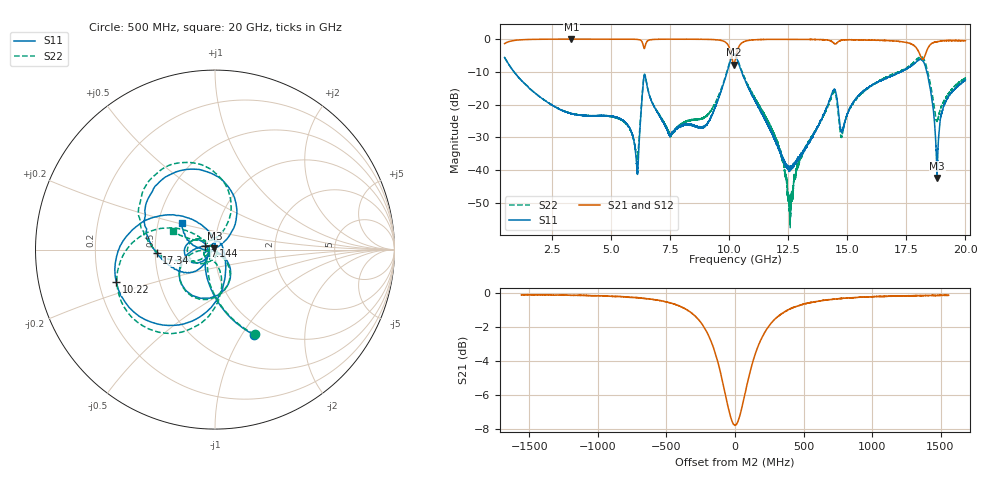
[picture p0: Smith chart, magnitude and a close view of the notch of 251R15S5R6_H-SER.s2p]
!{251R15S5R6}
!Johanson Technology Inc.
!www.johansontechnology.com
!Test Board Conditions:
!Substrate Type  RO4350B
!Substrate Thickness  20 mil
!Substrate Dk  3.66
!TL Type: GCPW
!TL Trace Width  34 mil
!TL Gap  10 mil
!Electrode orientation  Horizontal
!DUT TOPOLOGY	SERIES
!Mounting Pad LxW  26x52 mil
! Created Thu Mar 12 16:43:06 2020
# mhz S ma R 50
! 2 Port Network Data from SP1.SP block
! freq  magS11  angS11  magS21  angS21  magS12  angS12  magS22  angS22
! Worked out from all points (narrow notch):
!   19501 points, 500 MHz to 20 GHz, reference 50 ohm
!   highest |S21| = -0.04 dB at 3.329 GHz (marker M1); lowest = -7.8 dB at 10.2 GHz (marker M2)
!   notch at M2: 7.6 dB deep, 260 MHz wide at half that depth
!   lowest |S11| = -42.4 dB at 18.8 GHz (marker M3), VSWR 1.02, Z = 49.7 + j0.681 ohm
!   |S11| at or under -10 dB: 896.2 MHz to 9.918 GHz (9.022 GHz wide, 167 % of centre); 10.53 GHz to 17.26 GHz (6.727 GHz wide, 48.4 % of centre); 18.37 GHz to end of sweep (the widest 3 of 9)
!   |S22| runs from -57.5 to -4.4 dB; largest |S21 - S12| = 0.019
!   S11 on the Smith chart (normalised r, x): 500 MHz: 0.87, -1.13; 7.144 GHz: 0.89, +0.04; 10.22 GHz: 0.27, -0.15; 17.34 GHz: 0.51, -0.02; 20 GHz: 0.66, +0.21
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500  0.522 -65.4  0.8483 24.6  0.8496 24.6  0.5208 -65.0
3329  0.07281 -134.8  0.9955 -43.7  0.9943 -43.6  0.07331 -131.4
3750  0.06856 -138.9  0.993 -50.5  0.9937 -50.5  0.06871 -140.6
5565  0.05502 -165.9  0.9931 -79.7  0.9927 -79.7  0.05463 -169.5
6094  0.01129 -137.9  0.9861 -90.1  0.9857 -90.0  0.01504 -123.5
6424  0.2852 -113.2  0.7237 -88.2  0.7249 -88.2  0.2913 -112.6
7000  0.07281 165.7  0.9882 -98.7  0.9887 -98.7  0.0743 -176.3
7144  0.05952 160.3  0.9903 -101.4  0.9903 -101.3  0.06145 -175.5
8998  0.04782 -2.6  0.9855 -134.0  0.9854 -134.0  0.06451 -95.3
10199  0.5822 -154.0  0.4067 -147.8  0.4085 -147.8  0.5999 -144.4
10225  0.5792 -161.7  0.422 -138.3  0.4234 -138.4  0.5962 -151.2
10250  0.5688 -168.9  0.4608 -131.4  0.4617 -131.6  0.5859 -157.7
11987  0.02675 90.3  0.9866 -170.6  0.9858 -170.8  0.03017 138.2
12571  0.01036 138.5  0.9876 179.1  0.9866 179.1  0.002422 85.8
13500  0.03108 -146.3  0.9841 163.0  0.9841 163.1  0.03262 -77.5
14416  0.1654 -164.1  0.8731 145.2  0.875 145.2  0.1513 -166.2
14772  0.03812 -167.6  0.9587 146.4  0.9566 146.4  0.03338 -171.8
16750  0.2632 -158.6  0.9445 107.9  0.9382 107.3  0.2735 -168.8
17335  0.3246 -176.4  0.9047 95.3  0.9023 95.1  0.3337 -179.2
18252  0.431 94.0  0.5145 101.0  0.512 101.5  0.4843 100.2
18801  0.007616 115.8  0.9061 90.5  0.8998 90.4  0.05655 112.3
20000  0.237 141.8  0.94 60.6  0.9384 60.7  0.2529 156.3
